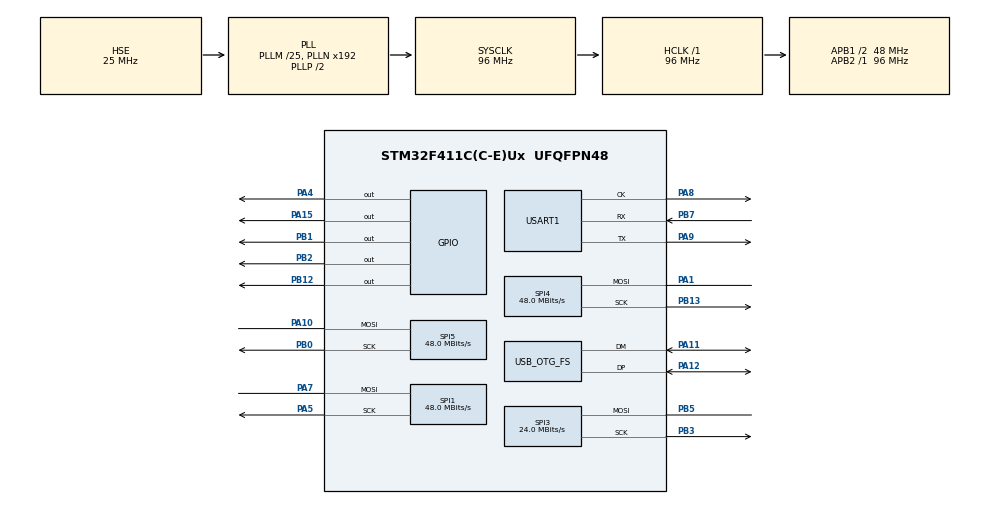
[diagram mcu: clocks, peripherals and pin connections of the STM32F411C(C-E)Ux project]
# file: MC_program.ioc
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Mcu.Family=STM32F4
Mcu.Name=STM32F411C(C-E)Ux
Mcu.Package=UFQFPN48
NVIC.OTG_FS_IRQn=true\:15\:0\:true\:false\:true\:false\:true\:true
NVIC.PriorityGroup=NVIC_PRIORITYGROUP_4
NVIC.TIM2_IRQn=true\:5\:0\:true\:false\:true\:true\:true\:true
NVIC.TIM3_IRQn=true\:0\:0\:false\:false\:true\:true\:true\:true
PA1.Mode=Simplex_Bidirectional_Master
PA1.Signal=SPI4_MOSI
PA10.Mode=Simplex_Bidirectional_Master
PA10.Signal=SPI5_MOSI
PA11.Mode=Device_Only
PA11.Signal=USB_OTG_FS_DM
PA12.Mode=Device_Only
PA12.Signal=USB_OTG_FS_DP
PA13.Mode=Serial_Wire
PA13.Signal=SYS_JTMS-SWDIO
PA14.Mode=Serial_Wire
PA14.Signal=SYS_JTCK-SWCLK
PA15.PinState=GPIO_PIN_SET
PA15.Signal=GPIO_Output
PA4.PinState=GPIO_PIN_SET
PA4.Signal=GPIO_Output
PA5.Mode=Simplex_Bidirectional_Master
PA5.Signal=SPI1_SCK
PA7.Mode=Simplex_Bidirectional_Master
PA7.Signal=SPI1_MOSI
PA8.Mode=Synchronous
PA8.Signal=USART1_CK
PA9.Mode=Synchronous
PA9.Signal=USART1_TX
PB0.Mode=Simplex_Bidirectional_Master
PB0.Signal=SPI5_SCK
PB1.PinState=GPIO_PIN_SET
PB1.Signal=GPIO_Output
PB12.PinState=GPIO_PIN_SET
PB12.Signal=GPIO_Output
PB13.Mode=Simplex_Bidirectional_Master
PB13.Signal=SPI4_SCK
PB2.Signal=GPIO_Output
PB3.Mode=Simplex_Bidirectional_Master
PB3.Signal=SPI3_SCK
PB5.Mode=Simplex_Bidirectional_Master
PB5.Signal=SPI3_MOSI
PB7.Mode=Synchronous
PB7.Signal=USART1_RX
PC14-OSC32_IN.Mode=LSE-External-Oscillator
PC14-OSC32_IN.Signal=RCC_OSC32_IN
PC15-OSC32_OUT.Mode=LSE-External-Oscillator
PC15-OSC32_OUT.Signal=RCC_OSC32_OUT
PH0\ -\ OSC_IN.Mode=HSE-External-Oscillator
PH0\ -\ OSC_IN.Signal=RCC_OSC_IN
PH1\ -\ OSC_OUT.Mode=HSE-External-Oscillator
PH1\ -\ OSC_OUT.Signal=RCC_OSC_OUT
ProjectManager.HeapSize=0x200
ProjectManager.StackSize=0x400
ProjectManager.TargetToolchain=STM32CubeIDE
RCC.48MHZClocksFreq_Value=48000000
RCC.AHBFreq_Value=96000000
RCC.APB1CLKDivider=RCC_HCLK_DIV2
RCC.APB1Freq_Value=48000000
RCC.APB1TimFreq_Value=96000000
RCC.APB2Freq_Value=96000000
RCC.APB2TimFreq_Value=96000000
RCC.CortexFreq_Value=96000000
RCC.HCLKFreq_Value=96000000
RCC.HSE_VALUE=25000000
RCC.HSI_VALUE=16000000
RCC.PLLM=25
RCC.SYSCLKFreq_VALUE=96000000
RCC.SYSCLKSource=RCC_SYSCLKSOURCE_PLLCLK
RCC.VCOOutputFreq_Value=192000000
SPI1.BaudRatePrescaler=SPI_BAUDRATEPRESCALER_2
SPI1.CLKPhase=SPI_PHASE_1EDGE
SPI1.CalculateBaudRate=48.0 MBits/s
SPI1.DataSize=SPI_DATASIZE_16BIT
SPI1.Direction=SPI_DIRECTION_1LINE
SPI1.Mode=SPI_MODE_MASTER
SPI1.VirtualType=VM_MASTER
SPI3.BaudRatePrescaler=SPI_BAUDRATEPRESCALER_2
SPI3.CalculateBaudRate=24.0 MBits/s
SPI3.DataSize=SPI_DATASIZE_16BIT
SPI3.Direction=SPI_DIRECTION_1LINE
SPI3.Mode=SPI_MODE_MASTER
SPI3.VirtualType=VM_MASTER
SPI4.BaudRatePrescaler=SPI_BAUDRATEPRESCALER_2
SPI4.CalculateBaudRate=48.0 MBits/s
SPI4.DataSize=SPI_DATASIZE_16BIT
SPI4.Direction=SPI_DIRECTION_1LINE
SPI4.Mode=SPI_MODE_MASTER
SPI4.VirtualType=VM_MASTER
SPI5.BaudRatePrescaler=SPI_BAUDRATEPRESCALER_2
SPI5.CalculateBaudRate=48.0 MBits/s
SPI5.DataSize=SPI_DATASIZE_16BIT
SPI5.Direction=SPI_DIRECTION_1LINE
SPI5.Mode=SPI_MODE_MASTER
SPI5.VirtualType=VM_MASTER
TIM2.AutoReloadPreload=TIM_AUTORELOAD_PRELOAD_DISABLE
TIM2.Period=3200-1
TIM2.Prescaler=2-1
TIM3.Period=3200-1
TIM3.Prescaler=2-1
USART1.VirtualMode=VM_SYNC
USB_DEVICE.CLASS_NAME_FS=CDC
USB_DEVICE.VirtualMode=Cdc
USB_DEVICE.VirtualModeFS=Cdc_FS
USB_OTG_FS.VirtualMode=Device_Only
VP_TIM2_VS_ClockSourceINT.Mode=Internal
VP_TIM3_VS_ClockSourceINT.Mode=Internal
VP_USB_DEVICE_VS_USB_DEVICE_CDC_FS.Mode=CDC_FS
board=custom

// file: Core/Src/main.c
/* USER CODE BEGIN Header */
/**
 ******************************************************************************
 * @file           : main.c
 * @brief          : Main program body
 ******************************************************************************
 * @attention
 *
 * Copyright (c) 2022 STMicroelectronics.
 * All rights reserved.
 *
 * This software is licensed under terms that can be found in the LICENSE file
 * in the root directory of this software component.
 * If no LICENSE file comes with this software, it is provided AS-IS.
 *
 ******************************************************************************
 */
/* USER CODE END Header */
#include "main.h"
#include "usb_device.h"

/* USER CODE BEGIN Includes */

#include "string.h"
#include "EEG_simulation.h"
#include <stdbool.h>

/* USER CODE END Includes */

SPI_HandleTypeDef hspi1;
SPI_HandleTypeDef hspi3;
SPI_HandleTypeDef hspi4;
SPI_HandleTypeDef hspi5;

TIM_HandleTypeDef htim2;
TIM_HandleTypeDef htim3;

USART_HandleTypeDef husart1;

/* USER CODE BEGIN PV */

DAC_Handler dac_handler_A;
DAC_Handler dac_handler_B;
DAC_Handler dac_handler_C;
DAC_Handler dac_handler_D;
uint8_t dacs_count = DACS_COUNT;
DAC_Handler *list_of_dacs;
LDAC_Handler LDAC;
Data_Queue data_queue;

uint32_t TIM3_step_count = 0; // LDAC TIM
uint8_t DAC_load_flag = 0;
uint8_t start_simulation_flag = 0;
uint8_t reset_queue_and_dacs = 0;

extern uint32_t sample_rate;
extern uint32_t simulation_channel_count;

/* USER CODE END PV */

void SystemClock_Config(void);
static void MX_GPIO_Init(void);
static void MX_SPI1_Init(void);
static void MX_SPI5_Init(void);
static void MX_SPI3_Init(void);
static void MX_USART1_Init(void);
static void MX_SPI4_Init(void);
static void MX_TIM2_Init(void);
static void MX_TIM3_Init(void);

int main(void)
{

  /* MCU Configuration--------------------------------------------------------*/

  /* Reset of all peripherals, Initializes the Flash interface and the Systick. */
  HAL_Init();

  /* Configure the system clock */
  SystemClock_Config();

  /* Initialize all configured peripherals */
  MX_GPIO_Init();
  MX_SPI1_Init();
  MX_USB_DEVICE_Init();
  MX_SPI5_Init();
  MX_SPI3_Init();
  MX_USART1_Init();
  MX_SPI4_Init();
  MX_TIM2_Init();
  MX_TIM3_Init();
  /* USER CODE BEGIN 2 */

  // DACs configuration
  init_dac_handler(DAC_A, &hspi1, GPIOA, GPIO_PIN_4, &dac_handler_A);
  init_dac_handler(DAC_B, &hspi5, GPIOB, GPIO_PIN_1, &dac_handler_B);
  init_dac_handler(DAC_C, &hspi3, GPIOA, GPIO_PIN_15, &dac_handler_C);
  init_dac_handler(DAC_D, &hspi4, GPIOB, GPIO_PIN_12, &dac_handler_D);

  list_of_dacs = malloc(dacs_count * sizeof(DAC_Handler));
  list_of_dacs[0] = dac_handler_A;
  list_of_dacs[1] = dac_handler_B;
  list_of_dacs[2] = dac_handler_C;
  list_of_dacs[3] = dac_handler_D;

  reset_dacs_config(list_of_dacs, &dacs_count);
  init_LDAC_in_dacs(list_of_dacs, &dacs_count);

  // LDAC configuration
  init_LDAC(GPIOB, GPIO_PIN_2, &LDAC);

  // Data queue init
  init_data_queue(&data_queue);

  /* USER CODE END 2 */

  /* Infinite loop */
  /* USER CODE BEGIN WHILE */

  uint8_t i = 0;
  uint16_t data;
  DAC_Channel dac_channel = CHANNEL_H;
  DAC_Tag dac_tag = DAC_B;
  // Main loop
  while (1)
  {
    /* USER CODE END WHILE */

    /* USER CODE BEGIN 3 */

  }

  free(list_of_dacs);
  /* USER CODE END 3 */
}

void SystemClock_Config(void)
{
  RCC_OscInitTypeDef RCC_OscInitStruct = {0};
  RCC_ClkInitTypeDef RCC_ClkInitStruct = {0};

  /** Configure the main internal regulator output voltage
  */
  __HAL_RCC_PWR_CLK_ENABLE();
  __HAL_PWR_VOLTAGESCALING_CONFIG(PWR_REGULATOR_VOLTAGE_SCALE1);

  /** Initializes the RCC Oscillators according to the specified parameters
  * in the RCC_OscInitTypeDef structure.
  */
  RCC_OscInitStruct.OscillatorType = RCC_OSCILLATORTYPE_HSE;
  RCC_OscInitStruct.HSEState = RCC_HSE_ON;
  RCC_OscInitStruct.PLL.PLLState = RCC_PLL_ON;
  RCC_OscInitStruct.PLL.PLLSource = RCC_PLLSOURCE_HSE;
  RCC_OscInitStruct.PLL.PLLM = 25;
  RCC_OscInitStruct.PLL.PLLN = 192;
  RCC_OscInitStruct.PLL.PLLP = RCC_PLLP_DIV2;
  RCC_OscInitStruct.PLL.PLLQ = 4;
  if (HAL_RCC_OscConfig(&RCC_OscInitStruct) != HAL_OK)
  {
    Error_Handler();
  }

  /** Initializes the CPU, AHB and APB buses clocks
  */
  RCC_ClkInitStruct.ClockType = RCC_CLOCKTYPE_HCLK|RCC_CLOCKTYPE_SYSCLK
                              |RCC_CLOCKTYPE_PCLK1|RCC_CLOCKTYPE_PCLK2;
  RCC_ClkInitStruct.SYSCLKSource = RCC_SYSCLKSOURCE_PLLCLK;
  RCC_ClkInitStruct.AHBCLKDivider = RCC_SYSCLK_DIV1;
  RCC_ClkInitStruct.APB1CLKDivider = RCC_HCLK_DIV2;
  RCC_ClkInitStruct.APB2CLKDivider = RCC_HCLK_DIV1;

  if (HAL_RCC_ClockConfig(&RCC_ClkInitStruct, FLASH_LATENCY_3) != HAL_OK)
  {
    Error_Handler();
  }
}

static void MX_SPI1_Init(void)
{

  /* SPI1 parameter configuration*/
  hspi1.Instance = SPI1;
  hspi1.Init.Mode = SPI_MODE_MASTER;
  hspi1.Init.Direction = SPI_DIRECTION_1LINE;
  hspi1.Init.DataSize = SPI_DATASIZE_16BIT;
  hspi1.Init.CLKPolarity = SPI_POLARITY_LOW;
  hspi1.Init.CLKPhase = SPI_PHASE_1EDGE;
  hspi1.Init.NSS = SPI_NSS_SOFT;
  hspi1.Init.BaudRatePrescaler = SPI_BAUDRATEPRESCALER_2;
  hspi1.Init.FirstBit = SPI_FIRSTBIT_MSB;
  hspi1.Init.TIMode = SPI_TIMODE_DISABLE;
  hspi1.Init.CRCCalculation = SPI_CRCCALCULATION_DISABLE;
  hspi1.Init.CRCPolynomial = 10;
  if (HAL_SPI_Init(&hspi1) != HAL_OK)
  {
    Error_Handler();
  }

}

static void MX_SPI3_Init(void)
{

  /* SPI3 parameter configuration*/
  hspi3.Instance = SPI3;
  hspi3.Init.Mode = SPI_MODE_MASTER;
  hspi3.Init.Direction = SPI_DIRECTION_1LINE;
  hspi3.Init.DataSize = SPI_DATASIZE_16BIT;
  hspi3.Init.CLKPolarity = SPI_POLARITY_LOW;
  hspi3.Init.CLKPhase = SPI_PHASE_1EDGE;
  hspi3.Init.NSS = SPI_NSS_SOFT;
  hspi3.Init.BaudRatePrescaler = SPI_BAUDRATEPRESCALER_2;
  hspi3.Init.FirstBit = SPI_FIRSTBIT_MSB;
  hspi3.Init.TIMode = SPI_TIMODE_DISABLE;
  hspi3.Init.CRCCalculation = SPI_CRCCALCULATION_DISABLE;
  hspi3.Init.CRCPolynomial = 10;
  if (HAL_SPI_Init(&hspi3) != HAL_OK)
  {
    Error_Handler();
  }

}

static void MX_SPI4_Init(void)
{

  /* SPI4 parameter configuration*/
  hspi4.Instance = SPI4;
  hspi4.Init.Mode = SPI_MODE_MASTER;
  hspi4.Init.Direction = SPI_DIRECTION_1LINE;
  hspi4.Init.DataSize = SPI_DATASIZE_16BIT;
  hspi4.Init.CLKPolarity = SPI_POLARITY_LOW;
  hspi4.Init.CLKPhase = SPI_PHASE_1EDGE;
  hspi4.Init.NSS = SPI_NSS_SOFT;
  hspi4.Init.BaudRatePrescaler = SPI_BAUDRATEPRESCALER_2;
  hspi4.Init.FirstBit = SPI_FIRSTBIT_MSB;
  hspi4.Init.TIMode = SPI_TIMODE_DISABLE;
  hspi4.Init.CRCCalculation = SPI_CRCCALCULATION_DISABLE;
  hspi4.Init.CRCPolynomial = 10;
  if (HAL_SPI_Init(&hspi4) != HAL_OK)
  {
    Error_Handler();
  }

}

static void MX_SPI5_Init(void)
{

  /* SPI5 parameter configuration*/
  hspi5.Instance = SPI5;
  hspi5.Init.Mode = SPI_MODE_MASTER;
  hspi5.Init.Direction = SPI_DIRECTION_1LINE;
  hspi5.Init.DataSize = SPI_DATASIZE_16BIT;
  hspi5.Init.CLKPolarity = SPI_POLARITY_LOW;
  hspi5.Init.CLKPhase = SPI_PHASE_1EDGE;
  hspi5.Init.NSS = SPI_NSS_SOFT;
  hspi5.Init.BaudRatePrescaler = SPI_BAUDRATEPRESCALER_2;
  hspi5.Init.FirstBit = SPI_FIRSTBIT_MSB;
  hspi5.Init.TIMode = SPI_TIMODE_DISABLE;
  hspi5.Init.CRCCalculation = SPI_CRCCALCULATION_DISABLE;
  hspi5.Init.CRCPolynomial = 10;
  if (HAL_SPI_Init(&hspi5) != HAL_OK)
  {
    Error_Handler();
  }

}

static void MX_TIM2_Init(void)
{

  TIM_ClockConfigTypeDef sClockSourceConfig = {0};
  TIM_MasterConfigTypeDef sMasterConfig = {0};

  /* USER CODE BEGIN TIM2_Init 1 */
  //HAL_TIM_Base_Start(&htim2);
  // HAL_NVIC_SetPriority(TIM2_IRQn, 0, 0);
  // HAL_NVIC_EnableIRQ(TIM2_IRQn);
  // __HAL_TIM_ENABLE_IT(&htim2, TIM_IT_UPDATE);
  // __HAL_RCC_TIM2_CLK_ENABLE();

  /* USER CODE END TIM2_Init 1 */
  htim2.Instance = TIM2;
  htim2.Init.Prescaler = 2-1;
  htim2.Init.CounterMode = TIM_COUNTERMODE_UP;
  htim2.Init.Period = 4800-1;
  htim2.Init.ClockDivision = TIM_CLOCKDIVISION_DIV1;
  htim2.Init.AutoReloadPreload = TIM_AUTORELOAD_PRELOAD_DISABLE;
  if (HAL_TIM_Base_Init(&htim2) != HAL_OK)
  {
    Error_Handler();
  }
  sClockSourceConfig.ClockSource = TIM_CLOCKSOURCE_INTERNAL;
  if (HAL_TIM_ConfigClockSource(&htim2, &sClockSourceConfig) != HAL_OK)
  {
    Error_Handler();
  }
  sMasterConfig.MasterOutputTrigger = TIM_TRGO_RESET;
  sMasterConfig.MasterSlaveMode = TIM_MASTERSLAVEMODE_DISABLE;
  if (HAL_TIMEx_MasterConfigSynchronization(&htim2, &sMasterConfig) != HAL_OK)
  {
    Error_Handler();
  }
  /* USER CODE BEGIN TIM2_Init 2 */
  HAL_TIM_Base_Start_IT(&htim2); // --> start as non-blocking mode
  /* USER CODE END TIM2_Init 2 */

}

static void MX_TIM3_Init(void)
{

  TIM_ClockConfigTypeDef sClockSourceConfig = {0};
  TIM_MasterConfigTypeDef sMasterConfig = {0};

  htim3.Instance = TIM3;
  htim3.Init.Prescaler = 3-1;
  htim3.Init.CounterMode = TIM_COUNTERMODE_UP;
  htim3.Init.Period = 3200-1;
  htim3.Init.ClockDivision = TIM_CLOCKDIVISION_DIV1;
  htim3.Init.AutoReloadPreload = TIM_AUTORELOAD_PRELOAD_DISABLE;
  if (HAL_TIM_Base_Init(&htim3) != HAL_OK)
  {
    Error_Handler();
  }
  sClockSourceConfig.ClockSource = TIM_CLOCKSOURCE_INTERNAL;
  if (HAL_TIM_ConfigClockSource(&htim3, &sClockSourceConfig) != HAL_OK)
  {
    Error_Handler();
  }
  sMasterConfig.MasterOutputTrigger = TIM_TRGO_RESET;
  sMasterConfig.MasterSlaveMode = TIM_MASTERSLAVEMODE_DISABLE;
  if (HAL_TIMEx_MasterConfigSynchronization(&htim3, &sMasterConfig) != HAL_OK)
  {
    Error_Handler();
  }
  /* USER CODE BEGIN TIM3_Init 2 */
  HAL_TIM_Base_Start_IT(&htim3);
  /* USER CODE END TIM3_Init 2 */

}

static void MX_USART1_Init(void)
{

  husart1.Instance = USART1;
  husart1.Init.BaudRate = 115200;
  husart1.Init.WordLength = USART_WORDLENGTH_8B;
  husart1.Init.StopBits = USART_STOPBITS_1;
  husart1.Init.Parity = USART_PARITY_NONE;
  husart1.Init.Mode = USART_MODE_TX_RX;
  husart1.Init.CLKPolarity = USART_POLARITY_LOW;
  husart1.Init.CLKPhase = USART_PHASE_1EDGE;
  husart1.Init.CLKLastBit = USART_LASTBIT_DISABLE;
  if (HAL_USART_Init(&husart1) != HAL_OK)
  {
    Error_Handler();
  }

}

static void MX_GPIO_Init(void)
{
  GPIO_InitTypeDef GPIO_InitStruct = {0};

  /* GPIO Ports Clock Enable */
  __HAL_RCC_GPIOC_CLK_ENABLE();
  __HAL_RCC_GPIOH_CLK_ENABLE();
  __HAL_RCC_GPIOA_CLK_ENABLE();
  __HAL_RCC_GPIOB_CLK_ENABLE();

  /*Configure GPIO pin Output Level */
  HAL_GPIO_WritePin(GPIOA, GPIO_PIN_4|GPIO_PIN_15, GPIO_PIN_SET);

  /*Configure GPIO pin Output Level */
  HAL_GPIO_WritePin(GPIOB, GPIO_PIN_1|GPIO_PIN_12, GPIO_PIN_SET);

  /*Configure GPIO pin Output Level */
  HAL_GPIO_WritePin(GPIOB, GPIO_PIN_2, GPIO_PIN_RESET);

  /*Configure GPIO pins : PA4 PA15 */
  GPIO_InitStruct.Pin = GPIO_PIN_4|GPIO_PIN_15;
  GPIO_InitStruct.Mode = GPIO_MODE_OUTPUT_PP;
  GPIO_InitStruct.Pull = GPIO_NOPULL;
  GPIO_InitStruct.Speed = GPIO_SPEED_FREQ_LOW;
  HAL_GPIO_Init(GPIOA, &GPIO_InitStruct);

  /*Configure GPIO pins : PB1 PB2 PB12 */
  GPIO_InitStruct.Pin = GPIO_PIN_1|GPIO_PIN_2|GPIO_PIN_12;
  GPIO_InitStruct.Mode = GPIO_MODE_OUTPUT_PP;
  GPIO_InitStruct.Pull = GPIO_NOPULL;
  GPIO_InitStruct.Speed = GPIO_SPEED_FREQ_LOW;
  HAL_GPIO_Init(GPIOB, &GPIO_InitStruct);

}

/* USER CODE BEGIN 4 */

/**
  * @brief  Period elapsed callback in non-blocking mode for TIM2
  * @param  htim TIM handle
  * @retval None
  */
void HAL_TIM_PeriodElapsedCallback(TIM_HandleTypeDef *htim)
{

	if(htim == &htim2){
		uint16_t config= 0, data = 0;
		DAC_Tag DAC_tag = DAC_B;
		DAC_Channel DAC_channel = CHANNEL_H;

		if(DAC_load_flag) {
			DAC_load_flag = 0;
			for(int i = 0; i < simulation_channel_count ; i++){
				if(DAC_load_flag){
					break;
				}
				if(!is_queue_empty(&data_queue)){

					dequeue_data(&config, &data, &data_queue);

					 // A config value of [0, 31] means writing to a DAC
					 if (config < MAX_DAC_CHANNEL_WORD){
						parse_tag_and_channel_from_config(&config, &DAC_tag, &DAC_channel);
						// Send the data to the corresponding channel of the corresponding DAC
						send_data_to_dac_channel(&(list_of_dacs[DAC_tag]), &DAC_channel, data);
					 }

				}else{
					break; //TODO revisar
				}
			}

		// Check if queue is empty and reset flag is true
		}
    else if(reset_queue_and_dacs && is_queue_empty(&data_queue))
    {
			reset_dacs_config(list_of_dacs, &dacs_count);
			start_simulation_flag = 0;
			reset_queue_and_dacs = 0;
		}
	}
  else if(htim == &htim3)
  {
		// Trigger LDAC if sample_rate count is reach. Reset counter and DAC_load_flag.
		if(TIM3_step_count == sample_rate && start_simulation_flag ){
			trigger_LDAC();
			DAC_load_flag = 1;
			TIM3_step_count = 0;
		}
		TIM3_step_count++;

	}

}

/* USER CODE END 4 */

void Error_Handler(void)
{
  __disable_irq();
  while (1)
  {
  }
}
